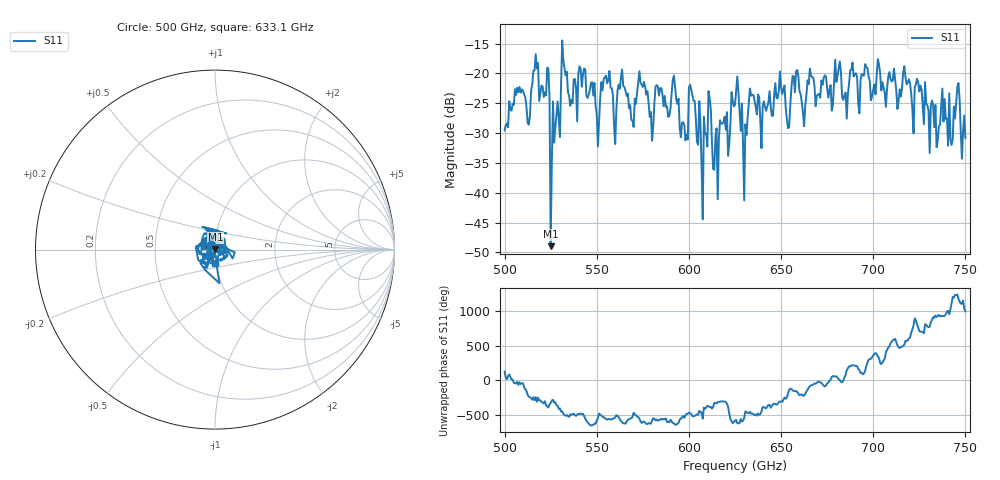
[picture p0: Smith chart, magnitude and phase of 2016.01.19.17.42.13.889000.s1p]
!Created with skrf (http://scikit-rf.org).
# GHz S RI R 50.0
!freq ReS11 ImS11
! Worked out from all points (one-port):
!   401 points, 500 GHz to 750 GHz, reference 50 ohm
!   lowest |S11| = -49.0 dB at 525 GHz (marker M1), VSWR 1.01, Z = 50.3 + j0.225 ohm
!   |S11| at or under -10 dB: start of sweep to end of sweep
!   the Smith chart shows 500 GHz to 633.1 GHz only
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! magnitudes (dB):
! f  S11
! 500 GHz  -29.6
! 506.9 GHz  -22.4
! 513.1 GHz  -28.6
! 516.9 GHz  -16.8
! 523.1 GHz  -19.0
! 525 GHz  -49.0
! 526.2 GHz  -24.7
! 531.2 GHz  -14.5
! 550.6 GHz  -32.2
! 562.5 GHz  -22.6
! 568.8 GHz  -27.8
! 573.8 GHz  -21.6
! 579.4 GHz  -26.4
! 593.8 GHz  -25.1
! 598.1 GHz  -31.2
! 601.2 GHz  -22.7
! 608.1 GHz  -27.3
! 611.2 GHz  -24.1
! 614.4 GHz  -30.6
! 625 GHz  -25.3
! 630.6 GHz  -28.5
! 633.8 GHz  -23.7
! 650.6 GHz  -23.5
! 653.8 GHz  -29.2
! 656.2 GHz  -20.4
! 687.5 GHz  -19.5
! 718.8 GHz  -21.5
! 750 GHz  -30.8
